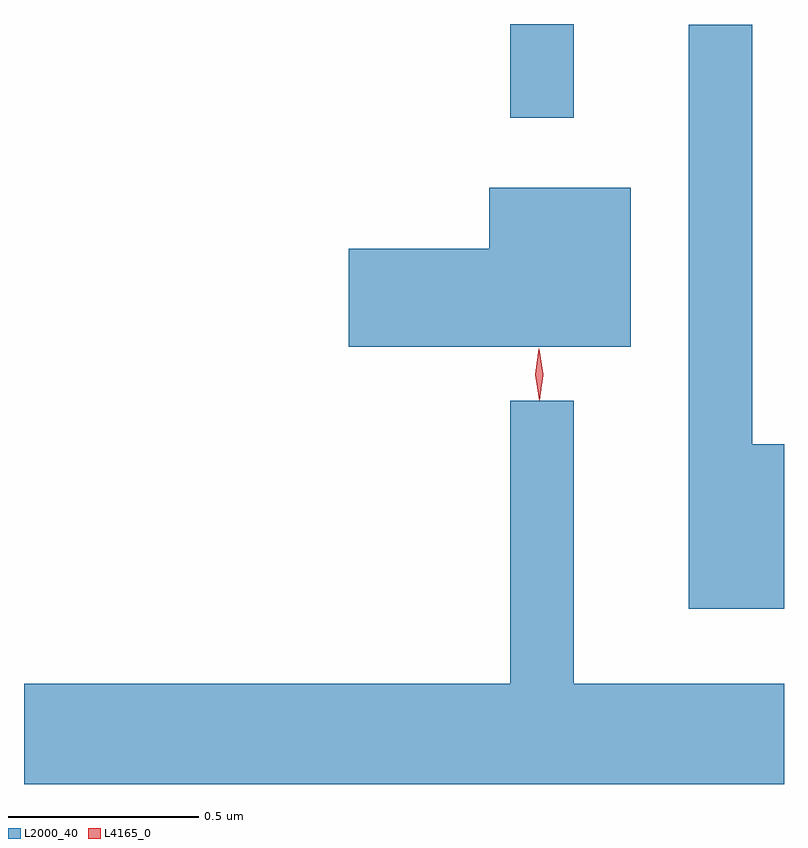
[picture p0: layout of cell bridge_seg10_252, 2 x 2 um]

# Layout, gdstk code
import gdstk
lib = gdstk.Library(unit=1e-6, precision=1e-09)
def R(c, l, rs):  # rectangles x0, y0, x1, y1
    for r in rs: c.add(gdstk.rectangle(r[:2], r[2:], *l))
def P(c, l, *ps):  # polygons
    for p in ps: c.add(gdstk.Polygon(p, *l))
L2000_40 = (2000, 40)
L4165_0 = (4165, 0)

bridge_seg10_252 = lib.new_cell('bridge_seg10_252')
R(bridge_seg10_252, L2000_40, [(1797.841,2089.033,1798.009,2089.28)])
P(bridge_seg10_252, L2000_40, [(1798.562,2088.174),(1798.479,2088.174),(1798.479,2089.278),(1798.311,2089.278),(1798.311,2087.741),(1798.562,2087.741)],
  [(1798.159,2088.849),(1797.786,2088.849),(1797.786,2088.689),(1797.416,2088.689),(1797.416,2088.431),(1798.159,2088.431)],
  [(1798.562,2087.544),(1798.009,2087.544),(1798.009,2088.288),(1797.841,2088.288),(1797.841,2087.544),(1796.562,2087.544),(1796.562,2087.28),(1798.562,2087.28)])
P(bridge_seg10_252, L4165_0, [(1797.918,2088.29),(1797.908,2088.358),(1797.917,2088.425),(1797.918,2088.426),(1797.918,2088.425),(1797.928,2088.358),(1797.919,2088.29),(1797.919,2088.29)],
  [(1797.919,2088.293),(1797.918,2088.294),(1797.908,2088.356),(1797.917,2088.419),(1797.917,2088.42),(1797.918,2088.419),(1797.928,2088.356),(1797.919,2088.294)])

lib.write_gds('bridge_seg10_252.gds')
